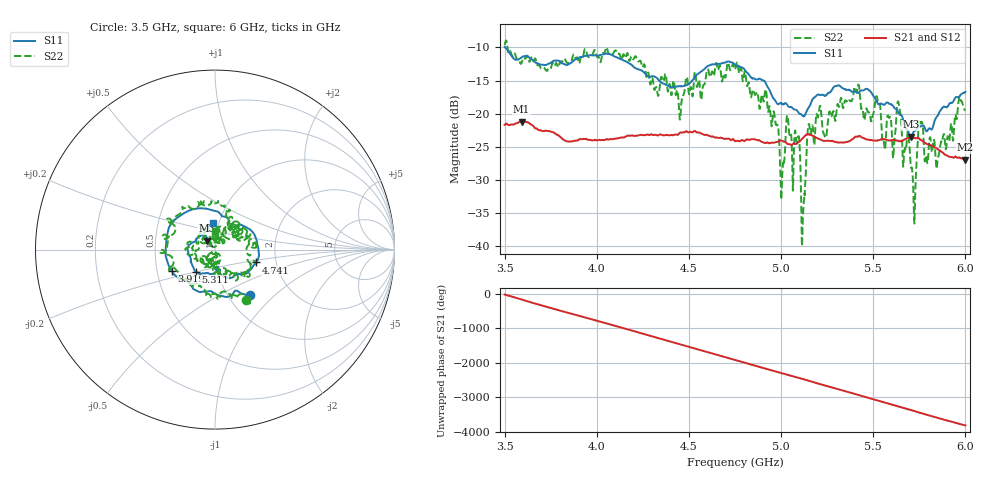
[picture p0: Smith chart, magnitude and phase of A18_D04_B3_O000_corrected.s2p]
! Created with skrf 1.9.0 (http://scikit-rf.org).
# Hz S RI R 50.0
!freq ReS11 ImS11 ReS21 ImS21 ReS12 ImS12 ReS22 ImS22
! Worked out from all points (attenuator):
!   1601 points, 3.5 GHz to 6 GHz, reference 50 ohm
!   highest |S21| = -21.20 dB at 3.592 GHz (marker M1); lowest = -26.9 dB at 6 GHz (marker M2)
!   lowest |S11| = -23.5 dB at 5.703 GHz (marker M3), VSWR 1.14, Z = 45.4 + j4.47 ohm
!   |S11| at or under -10 dB: 3.503 GHz to end of sweep
!   |S22| runs from -40.0 to -8.9 dB; largest |S21 - S12| = 0.001
!   S11 on the Smith chart (normalised r, x): 3.5 GHz: 1.26, -0.71; 3.919 GHz: 0.60, -0.15; 4.741 GHz: 1.57, -0.24; 5.311 GHz: 0.78, -0.20; 6 GHz: 0.94, +0.28
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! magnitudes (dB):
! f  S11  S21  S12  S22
! 3.5 GHz  -9.9  -21.7  -21.7  -9.6
! 3.592 GHz  -11.5  -21.2  -21.2  -12.3
! 3.917 GHz  -11.5  -23.9  -23.8  -11.1
! 3.919 GHz  -11.5  -23.9  -23.8  -11.1
! 4.334 GHz  -14.9  -23.3  -23.2  -17.3
! 4.741 GHz  -12.4  -23.9  -23.9  -12.5
! 4.75 GHz  -12.6  -24.2  -24.1  -13.3
! 4.923 GHz  -15.8  -24.4  -24.4  -17.9
! 5.006 GHz  -18.6  -24.1  -24.1  -29.2
! 5.036 GHz  -18.8  -24.6  -24.5  -20.4
! 5.088 GHz  -19.6  -24.5  -24.4  -24.1
! 5.119 GHz  -20.3  -23.7  -23.6  -35.3
! 5.167 GHz  -18.0  -23.3  -23.2  -21.9
! 5.311 GHz  -15.7  -24.4  -24.3  -18.8
! 5.584 GHz  -18.5  -24.0  -24.0  -20.4
! 5.611 GHz  -19.0  -23.9  -23.9  -25.8
! 5.639 GHz  -20.0  -24.2  -24.1  -18.6
! 5.703 GHz  -23.5  -23.7  -23.7  -27.7
! 5.722 GHz  -22.7  -23.7  -23.6  -36.1
! 5.756 GHz  -21.9  -23.9  -23.8  -21.4
! 5.848 GHz  -20.4  -25.3  -25.3  -27.2
! 6 GHz  -16.7  -26.9  -26.8  -19.5
